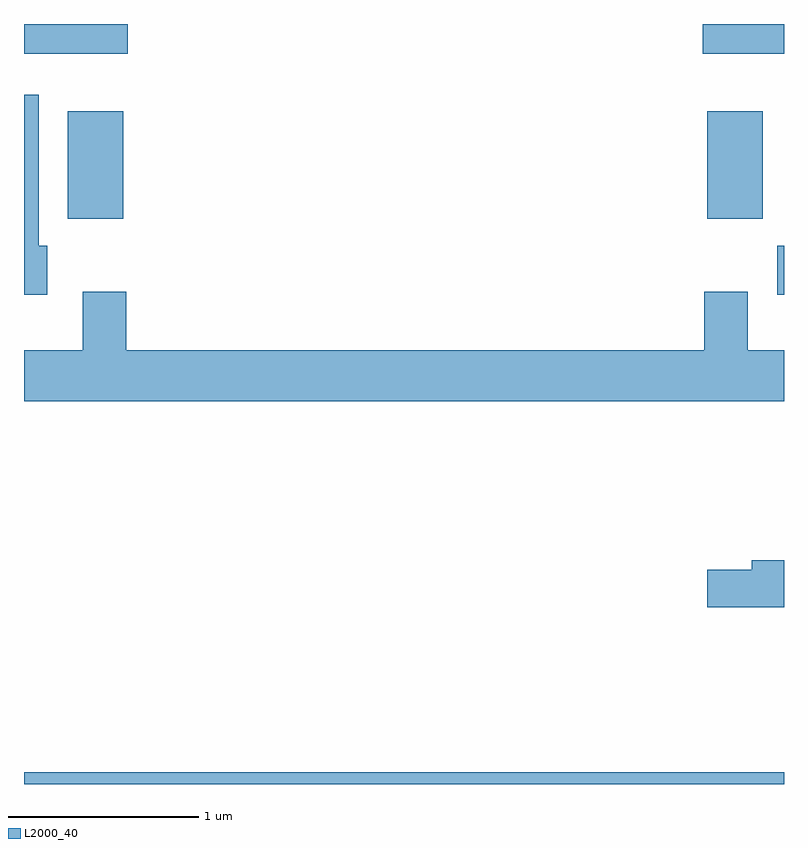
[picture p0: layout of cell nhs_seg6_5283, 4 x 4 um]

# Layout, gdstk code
import gdstk
lib = gdstk.Library(unit=1e-6, precision=1e-09)
def R(c, l, rs):  # rectangles x0, y0, x1, y1
    for r in rs: c.add(gdstk.rectangle(r[:2], r[2:], *l))
def P(c, l, *ps):  # polygons
    for p in ps: c.add(gdstk.Polygon(p, *l))
L2000_40 = (2000, 40)

nhs_seg6_5283 = lib.new_cell('nhs_seg6_5283')
R(nhs_seg6_5283, L2000_40, [(345.611,1630.162,349.611,1630.224), (349.576,1632.736,349.611,1632.994), (345.841,1633.136,346.134,1633.704), (349.206,1633.136,349.499,1633.704), (345.611,1634.006,346.158,1634.162), (349.183,1634.006,349.611,1634.162)])
P(nhs_seg6_5283, L2000_40, [(345.734,1632.994),(345.689,1632.994),(345.689,1633.789),(345.611,1633.789),(345.611,1632.736),(345.734,1632.736)],
  [(349.611,1632.444),(349.419,1632.444),(349.419,1632.754),(349.191,1632.754),(349.191,1632.444),(346.149,1632.444),(346.149,1632.754),(345.921,1632.754),(345.921,1632.444),(345.611,1632.444),(345.611,1632.176),(349.611,1632.176)],
  [(349.611,1631.339),(349.441,1631.339),(349.441,1631.289),(349.206,1631.289),(349.206,1631.091),(349.611,1631.091)])

lib.write_gds('nhs_seg6_5283.gds')
